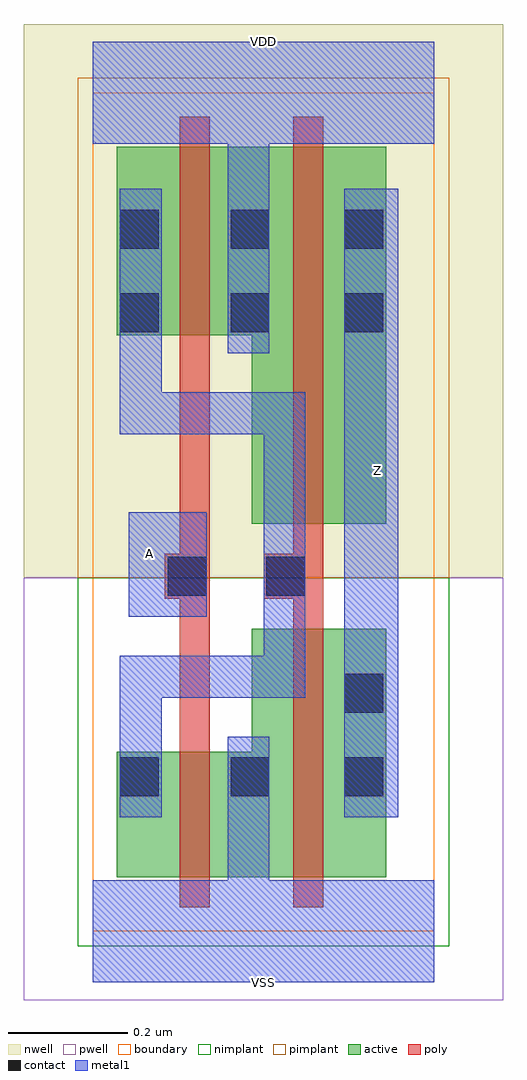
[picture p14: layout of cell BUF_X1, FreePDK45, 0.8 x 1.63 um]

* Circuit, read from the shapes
.subckt BUF_X1 A VDD VSS Z
M1 VSS A n1 VSUBS nfet w=0.21u l=0.05u
M2 Z n1 VSS VSUBS nfet w=0.415u l=0.05u
M3 VDD A n1 n2 pfet w=0.315u l=0.05u
M4 Z n1 VDD n2 pfet w=0.63u l=0.05u
.ends

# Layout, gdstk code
import gdstk
lib = gdstk.Library(unit=1e-6, precision=5e-10)
def R(c, l, rs):  # rectangles x0, y0, x1, y1
    for r in rs: c.add(gdstk.rectangle(r[:2], r[2:], *l))
def P(c, l, *ps):  # polygons
    for p in ps: c.add(gdstk.Polygon(p, *l))
active = (1, 0)
pwell = (2, 0)
nwell = (3, 0)
nimplant = (4, 0)
pimplant = (5, 0)
poly = (9, 0)
contact = (10, 0)
metal1 = (11, 0)
boundary = (235, 0)

buf_x1 = lib.new_cell('BUF_X1')
P(buf_x1, active, [(0.04,0.995),(0.265,0.995),(0.265,0.68),(0.49,0.68),(0.49,1.31),(0.04,1.31)],
  [(0.04,0.09),(0.49,0.09),(0.49,0.505),(0.265,0.505),(0.265,0.3),(0.04,0.3)])
R(buf_x1, pwell, [(-0.115,-0.115,0.685,0.59)])
R(buf_x1, nwell, [(-0.115,0.59,0.685,1.515)])
R(buf_x1, nimplant, [(-0.025,-0.025,0.595,0.59)])
R(buf_x1, pimplant, [(-0.025,0.59,0.595,1.425)])
P(buf_x1, poly, [(0.285,0.555),(0.335,0.555),(0.335,0.04),(0.385,0.04),(0.385,1.36),(0.335,1.36),(0.335,0.63),(0.285,0.63)],
  [(0.12,0.555),(0.145,0.555),(0.145,0.04),(0.195,0.04),(0.195,1.36),(0.145,1.36),(0.145,0.63),(0.12,0.63)])
R(buf_x1, contact, [(0.045,0.225,0.11,0.29), (0.23,0.225,0.295,0.29), (0.42,0.225,0.485,0.29), (0.42,0.365,0.485,0.43), (0.125,0.56,0.19,0.625), (0.29,0.56,0.355,0.625), (0.045,1,0.11,1.065), (0.23,1,0.295,1.065), (0.42,1,0.485,1.065), (0.045,1.14,0.11,1.205), (0.23,1.14,0.295,1.205), (0.42,1.14,0.485,1.205)])
R(buf_x1, metal1, [(0.42,0.19,0.51,1.24), (0.42,0.19,0.51,1.24), (0.06,0.525,0.19,0.7), (0.06,0.525,0.19,0.7)])
P(buf_x1, metal1, [(0,-0.085),(0.57,-0.085),(0.57,0.085),(0.295,0.085),(0.295,0.325),(0.225,0.325),(0.225,0.085),(0,0.085)],
  [(0,1.315),(0.225,1.315),(0.225,0.965),(0.295,0.965),(0.295,1.315),(0.57,1.315),(0.57,1.485),(0,1.485)],
  [(0,1.315),(0.225,1.315),(0.225,0.965),(0.295,0.965),(0.295,1.315),(0.57,1.315),(0.57,1.485),(0,1.485)],
  [(0,-0.085),(0.57,-0.085),(0.57,0.085),(0.295,0.085),(0.295,0.325),(0.225,0.325),(0.225,0.085),(0,0.085)],
  [(0.045,0.83),(0.285,0.83),(0.285,0.46),(0.045,0.46),(0.045,0.19),(0.115,0.19),(0.115,0.39),(0.355,0.39),(0.355,0.9),(0.115,0.9),(0.115,1.24),(0.045,1.24)])
R(buf_x1, boundary, [(0,0,0.57,1.4)])
buf_x1.add(gdstk.Label('Z', (0.475,0.77), layer=11, texttype=0))
buf_x1.add(gdstk.Label('VSS', (0.285,-0.085), layer=11, texttype=0))
buf_x1.add(gdstk.Label('VDD', (0.285,1.485), layer=11, texttype=0))
buf_x1.add(gdstk.Label('A', (0.095,0.63), layer=11, texttype=0))

lib.write_gds('BUF_X1.gds')
